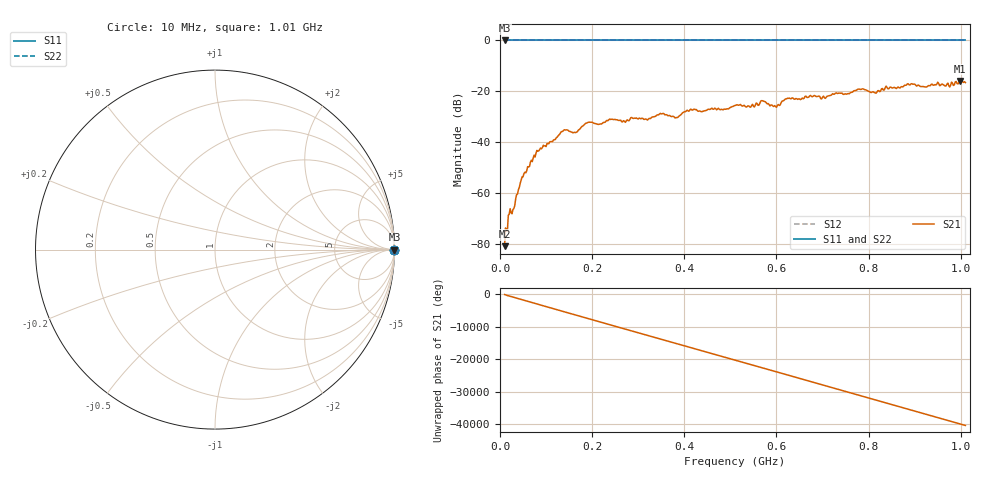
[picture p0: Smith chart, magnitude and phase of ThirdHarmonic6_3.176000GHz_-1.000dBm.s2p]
! 8/17/2025 9:34:43 AM
! C:\ANRITSUVNA\TEMP\TEMP.S2P
! CHANNEL.1
! TR.MEASUREMENT
! RAW.DATA
! RF.CORRECTION.OFF
! AVERAGING.OFF
! IF.BANDWIDTH: 5KHZ
! SWEEPTYPE:  FREQ.SWEEP(Linear)
! Reference Plane Port Info
! PORT:  PORT1  PORT2
! DISTANCE:  0  m  0  m
! TIME:  0  s  0  s
! PHASE.OFFSET:  0  deg.  0  deg.
! LOSS:  0  dB  0  dB
! REF.LOSS:  0  dB  0  dB
! REF.FREQ:  0  Hz  0  Hz
! Power Info
! POWER:  -20  dBm  -20  dBm
! EFF.POWER:  -20  dBm  -20  dBm
! SOURCE.ATTEN:  0  dB  0  dB
! TEST.ATTEN:  0  dB  0  dB
# GHZ S RI R 50.0
! FREQ.GHZ  S11RE  S11IM  S21RE  S21IM  S12RE  S12IM  S22RE  S22IM
!; PortSelection: Port_12
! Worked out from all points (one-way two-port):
!   501 points, 10 MHz to 1.01 GHz, reference 50 ohm
!   highest |S21| = -15.85 dB at 998 MHz (marker M1); lowest = -80.7 dB at 10 MHz (marker M2)
!   lowest |S11| = 0.0 dB at 10 MHz (marker M3)
!   |S11| at or under -10 dB: nowhere
!   |S22| runs from 0.0 to 0.0 dB; largest |S21 - S12| = 1.1
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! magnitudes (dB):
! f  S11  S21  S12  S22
! 10 MHz  0.0  -80.7  0.0  0.0
! 22 MHz  0.0  -66.0  0.0  0.0
! 28 MHz  0.0  -66.4  0.0  0.0
! 48 MHz  0.0  -53.5  0.0  0.0
! 78 MHz  0.0  -44.4  0.0  0.0
! 136 MHz  0.0  -35.7  0.0  0.0
! 162 MHz  0.0  -36.1  0.0  0.0
! 178 MHz  0.0  -33.7  0.0  0.0
! 194 MHz  0.0  -32.1  0.0  0.0
! 318 MHz  0.0  -31.0  0.0  0.0
! 344 MHz  0.0  -29.2  0.0  0.0
! 382 MHz  0.0  -30.3  0.0  0.0
! 416 MHz  0.0  -27.3  0.0  0.0
! 510 MHz  0.0  -25.5  0.0  0.0
! 548 MHz  0.0  -25.1  0.0  0.0
! 570 MHz  0.0  -23.7  0.0  0.0
! 596 MHz  0.0  -25.6  0.0  0.0
! 624 MHz  0.0  -22.7  0.0  0.0
! 678 MHz  0.0  -22.1  0.0  0.0
! 844 MHz  0.0  -18.9  0.0  0.0
! 998 MHz  0.0  -15.8  0.0  0.0
! 1.01 GHz  0.0  -16.5  0.0  0.0
